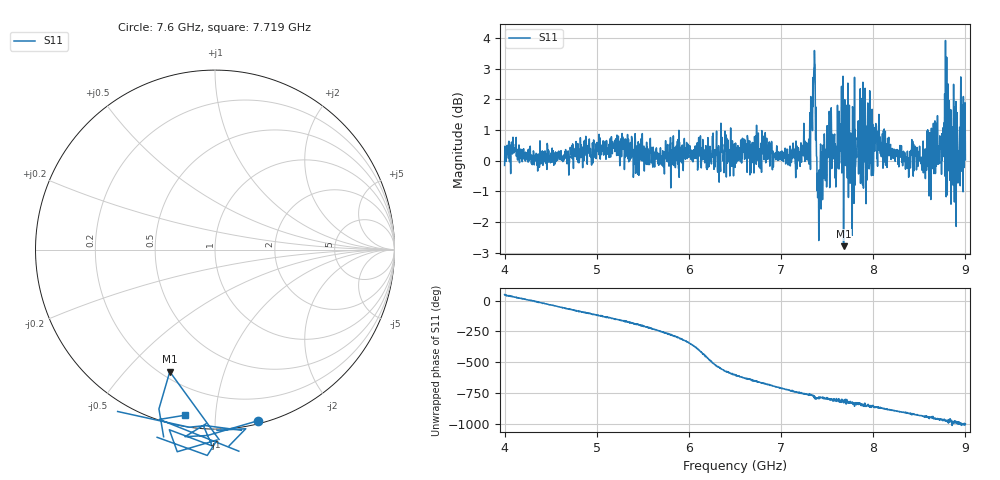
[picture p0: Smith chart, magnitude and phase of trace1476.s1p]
! Created with skrf 1.8.0 (http://scikit-rf.org).
# Hz S RI R 50.0
!freq ReS11 ImS11
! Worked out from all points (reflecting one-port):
!   1601 points, 4 GHz to 9 GHz, reference 50 ohm
!   lowest |S11| = -2.8 dB at 7.678 GHz (marker M1), VSWR 6.28, Z = 11.7 - j33.5 ohm
!   phase of S11 starts at 50 deg and turns -1053 deg over the sweep
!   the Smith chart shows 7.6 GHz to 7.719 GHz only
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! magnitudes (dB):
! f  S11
! 4 GHz  -0.2
! 4.1 GHz  0.3
! 4.625 GHz  0.1
! 5.25 GHz  -0.2
! 5.875 GHz  0.6
! 6.5 GHz  -0.2
! 7.125 GHz  0.3
! 7.294 GHz  0.6
! 7.347 GHz  1.8
! 7.369 GHz  3.1
! 7.397 GHz  -1.2
! 7.409 GHz  -2.6
! 7.522 GHz  1.6
! 7.575 GHz  0.3
! 7.647 GHz  0.5
! 7.678 GHz  -2.8
! 7.75 GHz  -0.7
! 7.769 GHz  -0.2
! 7.822 GHz  0.5
! 7.941 GHz  1.9
! 7.962 GHz  2.3
! 8.375 GHz  0.0
! 8.553 GHz  0.0
! 8.728 GHz  0.4
! 8.788 GHz  -0.2
! 8.903 GHz  1.5
! 8.972 GHz  0.7
! 9 GHz  0.0
